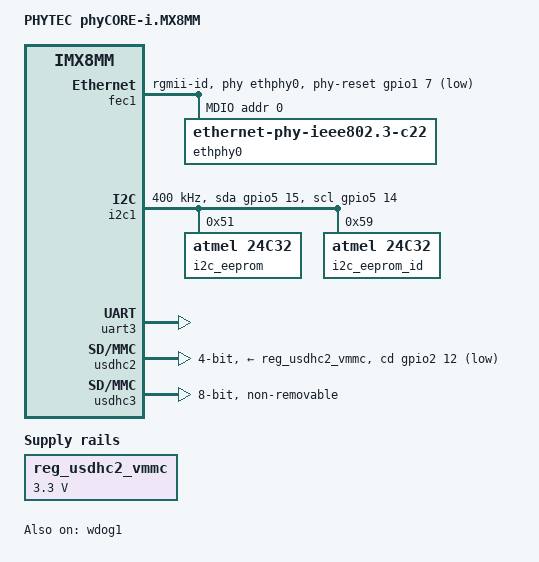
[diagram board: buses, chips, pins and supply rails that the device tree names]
// SPDX-License-Identifier: GPL-2.0-or-later
/*
 * Copyright (C) 2019-2020 PHYTEC Messtechnik GmbH
 * Author: Teresa Remmet <t.remmet@phytec.de>
 */

/dts-v1/;

#include <dt-bindings/net/ti-dp83867.h>
#include "imx8mm.dtsi"

/ {
	model = "PHYTEC phyCORE-i.MX8MM";
	compatible = "phytec,imx8mm-phycore-som", "fsl,imx8mm";

	chosen {
		stdout-patch = &uart3;
	};

	reg_usdhc2_vmmc: regulator-usdhc2 {
		compatible = "regulator-fixed";
		regulator-name = "VSD_3V3";
		regulator-min-microvolt = <3300000>;
		regulator-max-microvolt = <3300000>;
		startup-delay-us = <100>;
		off-on-delay-us = <12000>;
	};
};

/* ethernet */
&fec1 {
	pinctrl-names = "default";
	pinctrl-0 = <&pinctrl_fec1>;
	phy-mode = "rgmii-id";
	phy-handle = <&ethphy0>;
	phy-reset-gpios = <&gpio1 7 GPIO_ACTIVE_HIGH>;
	phy-reset-duration = <1>;
	phy-reset-post-delay = <1>;
	status = "okay";

	mdio {
		#address-cells = <1>;
		#size-cells = <0>;

		ethphy0: ethernet-phy@0 {
			compatible = "ethernet-phy-ieee802.3-c22";
			reg = <0x0>;
			ti,rx-internal-delay = <DP83867_RGMIIDCTL_2_00_NS>;
			ti,tx-internal-delay = <DP83867_RGMIIDCTL_2_00_NS>;
			ti,fifo-depth = <DP83867_PHYCR_FIFO_DEPTH_4_B_NIB>;
			ti,clk-output-sel = <DP83867_CLK_O_SEL_OFF>;
			enet-phy-lane-no-swap;
		};
	};
};

/* i2c eeprom */
&i2c1 {
	clock-frequency = <400000>;
	pinctrl-names = "default", "gpio";
	pinctrl-0 = <&pinctrl_i2c1>;
	pinctrl-1 = <&pinctrl_i2c1_gpio>;
	scl-gpios = <&gpio5 14 GPIO_ACTIVE_HIGH>;
	sda-gpios = <&gpio5 15 GPIO_ACTIVE_HIGH>;
	status = "okay";

	/* M24C32-D */
	i2c_eeprom: eeprom@51 {
		compatible = "atmel,24c32";
		reg = <0x51>;
		u-boot,i2c-offset-len = <2>;
	};

	/* M24C32-D Identification page */
	i2c_eeprom_id: eeprom@59 {
		compatible = "atmel,24c32";
		reg = <0x59>;
		u-boot,i2c-offset-len = <2>;
	};
};

/* debug console */
&uart3 {
	pinctrl-names = "default";
	pinctrl-0 = <&pinctrl_uart3>;
	status = "okay";
};

/* sd-card */
&usdhc2 {
	pinctrl-names = "default", "state_100mhz", "state_200mhz";
	pinctrl-0 = <&pinctrl_usdhc2>, <&pinctrl_usdhc2_gpio>;
	pinctrl-1 = <&pinctrl_usdhc2_100mhz>, <&pinctrl_usdhc2_gpio>;
	pinctrl-2 = <&pinctrl_usdhc2_200mhz>, <&pinctrl_usdhc2_gpio>;
	cd-gpios = <&gpio2 12 GPIO_ACTIVE_LOW>;
	bus-width = <4>;
	vmmc-supply = <&reg_usdhc2_vmmc>;
	status = "okay";
};

/* eMMC */
&usdhc3 {
	pinctrl-names = "default", "state_100mhz", "state_200mhz";
	pinctrl-0 = <&pinctrl_usdhc3>;
	pinctrl-1 = <&pinctrl_usdhc3_100mhz>;
	pinctrl-2 = <&pinctrl_usdhc3_200mhz>;
	bus-width = <8>;
	non-removable;
	status = "okay";
};

/* watchdog */
&wdog1 {
	pinctrl-names = "default";
	pinctrl-0 = <&pinctrl_wdog>;
	fsl,ext-reset-output;
	status = "okay";
};

&iomuxc {
	pinctrl-names = "default";

	pinctrl_fec1: fec1grp {
		fsl,pins = <
			MX8MM_IOMUXC_ENET_MDC_ENET1_MDC		0x3
			MX8MM_IOMUXC_ENET_MDIO_ENET1_MDIO	0x3
			MX8MM_IOMUXC_ENET_TD3_ENET1_RGMII_TD3	0x1f
			MX8MM_IOMUXC_ENET_TD2_ENET1_RGMII_TD2	0x1f
			MX8MM_IOMUXC_ENET_TD1_ENET1_RGMII_TD1	0x1f
			MX8MM_IOMUXC_ENET_TD0_ENET1_RGMII_TD0	0x1f
			MX8MM_IOMUXC_ENET_RD3_ENET1_RGMII_RD3	0x91
			MX8MM_IOMUXC_ENET_RD2_ENET1_RGMII_RD2	0x91
			MX8MM_IOMUXC_ENET_RD1_ENET1_RGMII_RD1	0x91
			MX8MM_IOMUXC_ENET_RD0_ENET1_RGMII_RD0	0x91
			MX8MM_IOMUXC_ENET_TXC_ENET1_RGMII_TXC	0x1f
			MX8MM_IOMUXC_ENET_RXC_ENET1_RGMII_RXC	0x91
			MX8MM_IOMUXC_ENET_RX_CTL_ENET1_RGMII_RX_CTL	0x91
			MX8MM_IOMUXC_ENET_TX_CTL_ENET1_RGMII_TX_CTL	0x1f
			MX8MM_IOMUXC_GPIO1_IO07_GPIO1_IO7	0x19
		>;
	};

	pinctrl_i2c1: i2c1grp {
		fsl,pins = <
			MX8MM_IOMUXC_I2C1_SCL_I2C1_SCL		0x400001c3
			MX8MM_IOMUXC_I2C1_SDA_I2C1_SDA		0x400001c3
		>;
	};

	pinctrl_i2c1_gpio: i2c1grp-gpio {
		fsl,pins = <
			MX8MM_IOMUXC_I2C1_SCL_GPIO5_IO14	0x1c3
			MX8MM_IOMUXC_I2C1_SDA_GPIO5_IO15	0x1c3
		>;
	};

	pinctrl_uart3: uart3grp {
		fsl,pins = <
			MX8MM_IOMUXC_UART3_RXD_UART3_DCE_RX	0x49
			MX8MM_IOMUXC_UART3_TXD_UART3_DCE_TX	0x49
		>;
	};

	pinctrl_usdhc2_gpio: usdhc2grpgpio {
		fsl,pins = <
			MX8MM_IOMUXC_SD2_CD_B_GPIO2_IO12        0x41
		>;
	};

	pinctrl_usdhc2: usdhc2grp {
		fsl,pins = <
			MX8MM_IOMUXC_SD2_CLK_USDHC2_CLK		0x190
			MX8MM_IOMUXC_SD2_CMD_USDHC2_CMD		0x1d0
			MX8MM_IOMUXC_SD2_DATA0_USDHC2_DATA0	0x1d0
			MX8MM_IOMUXC_SD2_DATA1_USDHC2_DATA1	0x1d0
			MX8MM_IOMUXC_SD2_DATA2_USDHC2_DATA2	0x1d0
			MX8MM_IOMUXC_SD2_DATA3_USDHC2_DATA3	0x1d0
			MX8MM_IOMUXC_GPIO1_IO04_USDHC2_VSELECT	0x1d0
		>;
	};

	pinctrl_usdhc2_100mhz: usdhc2grp100mhz {
		fsl,pins = <
			MX8MM_IOMUXC_SD2_CLK_USDHC2_CLK		0x194
			MX8MM_IOMUXC_SD2_CMD_USDHC2_CMD		0x1d4
			MX8MM_IOMUXC_SD2_DATA0_USDHC2_DATA0	0x1d4
			MX8MM_IOMUXC_SD2_DATA1_USDHC2_DATA1	0x1d4
			MX8MM_IOMUXC_SD2_DATA2_USDHC2_DATA2	0x1d4
			MX8MM_IOMUXC_SD2_DATA3_USDHC2_DATA3	0x1d4
			MX8MM_IOMUXC_GPIO1_IO04_USDHC2_VSELECT	0x1d0
		>;
	};

	pinctrl_usdhc2_200mhz: usdhc2grp200mhz {
		fsl,pins = <
			MX8MM_IOMUXC_SD2_CLK_USDHC2_CLK		0x196
			MX8MM_IOMUXC_SD2_CMD_USDHC2_CMD		0x1d6
			MX8MM_IOMUXC_SD2_DATA0_USDHC2_DATA0	0x1d6
			MX8MM_IOMUXC_SD2_DATA1_USDHC2_DATA1	0x1d6
			MX8MM_IOMUXC_SD2_DATA2_USDHC2_DATA2	0x1d6
			MX8MM_IOMUXC_SD2_DATA3_USDHC2_DATA3	0x1d6
			MX8MM_IOMUXC_GPIO1_IO04_USDHC2_VSELECT	0x1d0
		>;
	};

	pinctrl_usdhc3: usdhc3grp {
		fsl,pins = <
			MX8MM_IOMUXC_NAND_WE_B_USDHC3_CLK		0x40000190
			MX8MM_IOMUXC_NAND_WP_B_USDHC3_CMD		0x1d0
			MX8MM_IOMUXC_NAND_DATA04_USDHC3_DATA0		0x1d0
			MX8MM_IOMUXC_NAND_DATA05_USDHC3_DATA1		0x1d0
			MX8MM_IOMUXC_NAND_DATA06_USDHC3_DATA2		0x1d0
			MX8MM_IOMUXC_NAND_DATA07_USDHC3_DATA3		0x1d0
			MX8MM_IOMUXC_NAND_RE_B_USDHC3_DATA4		0x1d0
			MX8MM_IOMUXC_NAND_CE2_B_USDHC3_DATA5		0x1d0
			MX8MM_IOMUXC_NAND_CE3_B_USDHC3_DATA6		0x1d0
			MX8MM_IOMUXC_NAND_CLE_USDHC3_DATA7		0x1d0
			MX8MM_IOMUXC_NAND_CE1_B_USDHC3_STROBE		0x190
		>;
	};

	pinctrl_usdhc3_100mhz: usdhc3grp100mhz {
		fsl,pins = <
			MX8MM_IOMUXC_NAND_WE_B_USDHC3_CLK		0x40000194
			MX8MM_IOMUXC_NAND_WP_B_USDHC3_CMD		0x1d4
			MX8MM_IOMUXC_NAND_DATA04_USDHC3_DATA0		0x1d4
			MX8MM_IOMUXC_NAND_DATA05_USDHC3_DATA1		0x1d4
			MX8MM_IOMUXC_NAND_DATA06_USDHC3_DATA2		0x1d4
			MX8MM_IOMUXC_NAND_DATA07_USDHC3_DATA3		0x1d4
			MX8MM_IOMUXC_NAND_RE_B_USDHC3_DATA4		0x1d4
			MX8MM_IOMUXC_NAND_CE2_B_USDHC3_DATA5		0x1d4
			MX8MM_IOMUXC_NAND_CE3_B_USDHC3_DATA6		0x1d4
			MX8MM_IOMUXC_NAND_CLE_USDHC3_DATA7		0x1d4
			MX8MM_IOMUXC_NAND_CE1_B_USDHC3_STROBE		0x194
		>;
	};

	pinctrl_usdhc3_200mhz: usdhc3grp200mhz {
		fsl,pins = <
			MX8MM_IOMUXC_NAND_WE_B_USDHC3_CLK		0x40000196
			MX8MM_IOMUXC_NAND_WP_B_USDHC3_CMD		0x1d6
			MX8MM_IOMUXC_NAND_DATA04_USDHC3_DATA0		0x1d6
			MX8MM_IOMUXC_NAND_DATA05_USDHC3_DATA1		0x1d6
			MX8MM_IOMUXC_NAND_DATA06_USDHC3_DATA2		0x1d6
			MX8MM_IOMUXC_NAND_DATA07_USDHC3_DATA3		0x1d6
			MX8MM_IOMUXC_NAND_RE_B_USDHC3_DATA4		0x1d6
			MX8MM_IOMUXC_NAND_CE2_B_USDHC3_DATA5		0x1d6
			MX8MM_IOMUXC_NAND_CE3_B_USDHC3_DATA6		0x1d6
			MX8MM_IOMUXC_NAND_CLE_USDHC3_DATA7		0x1d6
			MX8MM_IOMUXC_NAND_CE1_B_USDHC3_STROBE		0x196
		>;
	};

	pinctrl_wdog: wdoggrp {
		fsl,pins = <
			MX8MM_IOMUXC_GPIO1_IO02_WDOG1_WDOG_B		0xc6
		>;
	};
};
